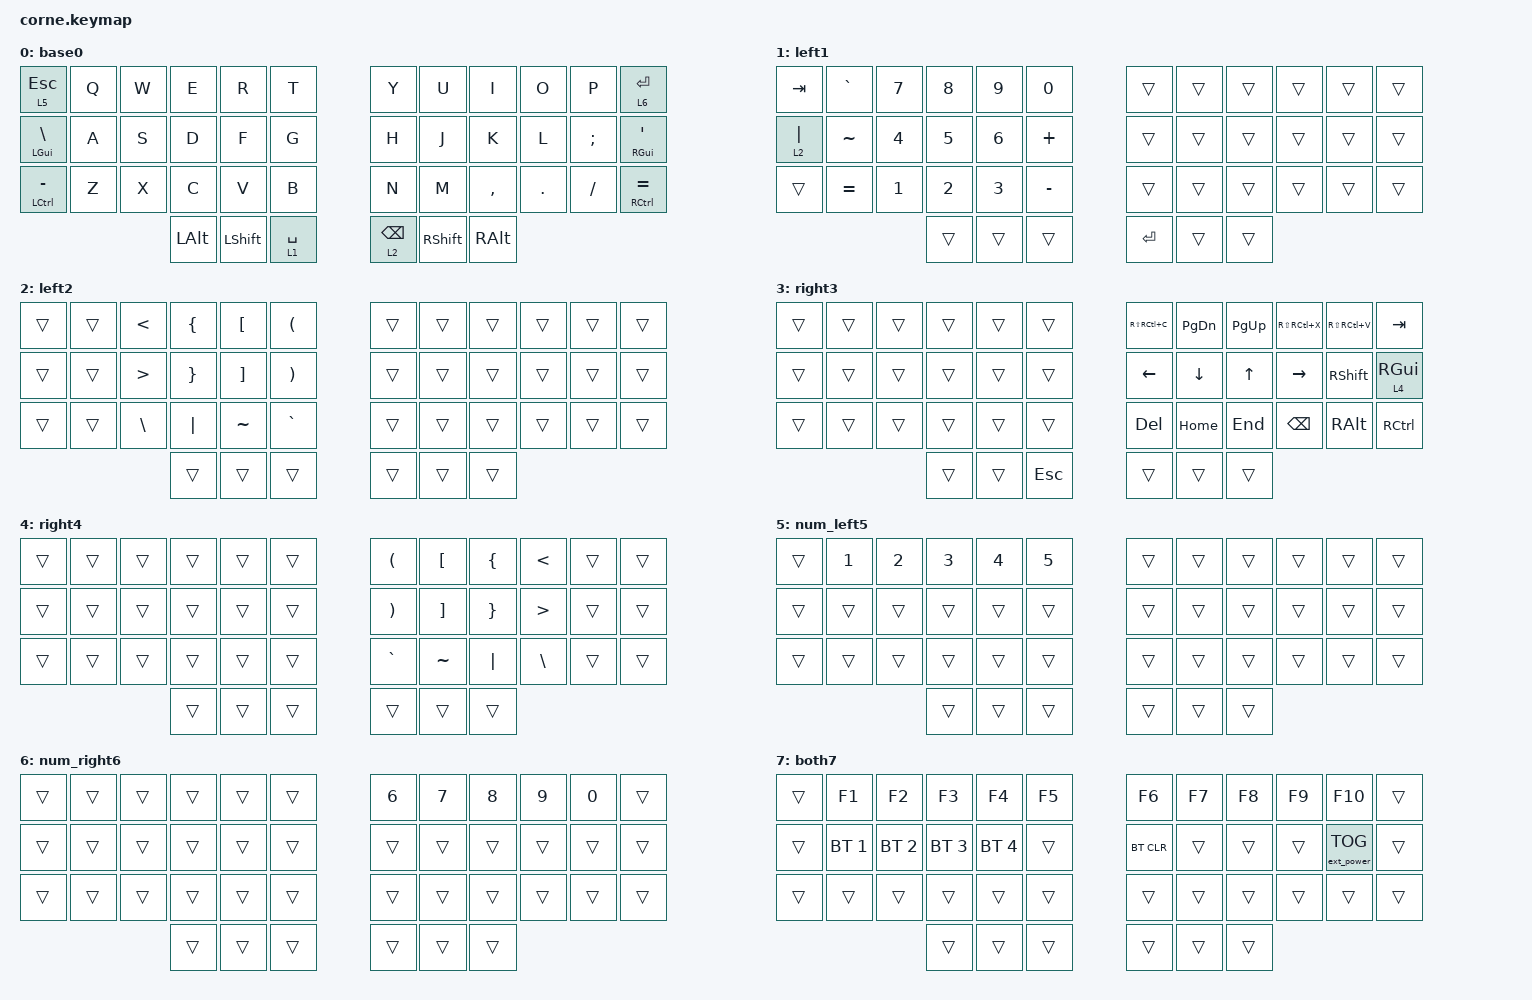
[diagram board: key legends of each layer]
/*
 * Custom Corne Keyboard ZMK firmware
 * Shawn Tolley
 */

#include <behaviors.dtsi>
#include <dt-bindings/zmk/bt.h>
// #include <dt-bindings/zmk/ext_power.h>
#include <dt-bindings/zmk/keys.h>

// dt-formatter: indent = "  "
// dt-formatter: multilineIntegerCellsIndent = "reindent"
// dt-formatter: multilineListCommaStyle = "leading"

// &sk { /delete-property/ ignore-modifiers; };

/ {
//  behaviors {
//    hml: homewrow_mods_left {
//      compatible = "zmk,behavior-hold-tap";
//      #binding-cells = <2>;
//      bindings = <&kp>, <&kp>;
//
//      tapping-term-ms = <200>;
//      hold-trigger-key-positions = <6 7 8 9 10 11 18 19 20 21 22 23 30 31 32 33 34 35 39 40 41>;
//    };
//
//    hmr: homewrow_mods_right {
//      compatible = "zmk,behavior-hold-tap";
//      #binding-cells = <2>;
//      bindings = <&kp>, <&kp>;
//
//      tapping-term-ms = <200>;
//      hold-trigger-key-positions = <0 1 2 3 4 5 12 13 14 15 16 17 24 25 26 27 28 29 36 37 38>;
//    };
//
  conditional_layers {
    compatible = "zmk,conditional-layers";

    tri_layer {
      if-layers = <5 6>;
      then-layer = <7>;
    };
  };
//

  keymap {
    compatible = "zmk,keymap";

    base0 {
      bindings = <
        &lt 5 ESC        &kp Q         &kp W        &kp E         &kp R        &kp T          &kp Y       &kp U       &kp I      &kp O    &kp P     &lt 6 RET
        &mt LGUI BSLH    &kp A         &kp S        &kp D         &kp F        &kp G          &kp H       &kp J       &kp K      &kp L    &kp SEMI  &mt RGUI SQT
        &mt LCTRL MINUS  &kp Z         &kp X        &kp C         &kp V        &kp B          &kp N       &kp M       &kp COMMA  &kp DOT  &kp FSLH  &mt RCTRL EQUAL
                                                    &kp LALT      &kp LSHFT    &lt 1 SPACE    &lt 2 BSPC  &kp RSHFT   &kp RALT
      >;
    };

    left1 {
      bindings = <
        &kp TAB     &kp GRAVE     &kp N7        &kp N8       &kp N9       &kp N0         &trans           &trans       &trans        &trans       &trans           &trans
        &lt 2 PIPE  &kp TILDE     &kp N4        &kp N5       &kp N6       &kp PLUS       &trans           &trans       &trans        &trans       &trans           &trans
        &trans      &kp EQUAL     &kp N1        &kp N2       &kp N3       &kp MINUS      &trans           &trans       &trans        &trans       &trans           &trans       
                                                &trans       &trans       &trans         &kp RET          &trans       &trans
      >;

    };

    left2 {
      bindings = <
        &trans  &trans  &kp LT    &kp LBRC     &kp LBKT     &kp LPAR       &trans  &trans  &trans  &trans  &trans   &trans
        &trans  &trans  &kp GT    &kp RBRC     &kp RBKT     &kp RPAR       &trans  &trans  &trans  &trans  &trans   &trans
        &trans  &trans  &kp BSLH  &kp PIPE     &kp TILDE    &kp GRAVE      &trans  &trans  &trans  &trans  &trans   &trans
                                  &trans       &trans       &trans         &trans  &trans  &trans
      >;
    };

    right3 {
      bindings = <
        &trans  &trans  &trans  &trans  &trans  &trans    &kp RS(RC(C))  &kp PAGE_DOWN  &kp PAGE_UP  &kp RS(RC(X))  &kp RS(RC(V))  &kp TAB
        &trans  &trans  &trans  &trans  &trans  &trans    &kp LEFT       &kp DOWN       &kp UP       &kp RIGHT      &kp RSHIFT     &lt 4 RGUI
        &trans  &trans  &trans  &trans  &trans  &trans    &kp DELETE     &kp HOME       &kp END      &kp BACKSPACE  &kp RALT       &kp RCTRL
                                &trans  &trans  &kp ESC   &trans         &trans         &trans
	>;
    };

    right4 {
      bindings = <
        &trans  &trans  &trans  &trans  &trans  &trans        &kp LPAR   &kp LBKT   &kp LBRC  &kp LT    &trans   &trans
        &trans  &trans  &trans  &trans  &trans  &trans        &kp RPAR   &kp RBKT   &kp RBRC  &kp GT    &trans   &trans
        &trans  &trans  &trans  &trans  &trans  &trans        &kp GRAVE  &kp TILDE  &kp PIPE  &kp BSLH  &trans   &trans
                                &trans  &trans  &trans        &trans     &trans     &trans
      >;
    };

    num_left5 {
      bindings = <
        &trans  &kp N1  &kp N2  &kp N3  &kp N4  &kp N5    &trans  &trans  &trans  &trans  &trans  &trans
        &trans  &trans  &trans  &trans  &trans  &trans    &trans  &trans  &trans  &trans  &trans  &trans
        &trans  &trans  &trans  &trans  &trans  &trans    &trans  &trans  &trans  &trans  &trans  &trans
                                &trans  &trans  &trans    &trans  &trans  &trans
      >;
    };

    num_right6 {
      bindings = <
        &trans  &trans  &trans  &trans  &trans  &trans    &kp N6  &kp N7  &kp N8  &kp N9  &kp N0   &trans
        &trans  &trans  &trans  &trans  &trans  &trans    &trans  &trans  &trans  &trans  &trans   &trans
        &trans  &trans  &trans  &trans  &trans  &trans    &trans  &trans  &trans  &trans  &trans   &trans
                                &trans  &trans  &trans    &trans  &trans  &trans
      >;
    };

    both7 {
      bindings = <
        &trans  &kp F1       &kp F2       &kp F3       &kp F4       &kp F5        &kp F6      &kp F7   &kp F8  &kp F9  &kp F10  &trans
        &trans  &bt BT_SEL 1 &bt BT_SEL 2 &bt BT_SEL 3 &bt BT_SEL 4 &trans        &bt BT_CLR  &trans   &trans  &trans  &ext_power EP_TOG &trans
        &trans  &trans       &trans       &trans       &trans       &trans        &trans      &trans   &trans  &trans  &trans  &trans
                                          &trans       &trans       &trans        &trans      &trans   &trans
      >;
    };

  };
};

